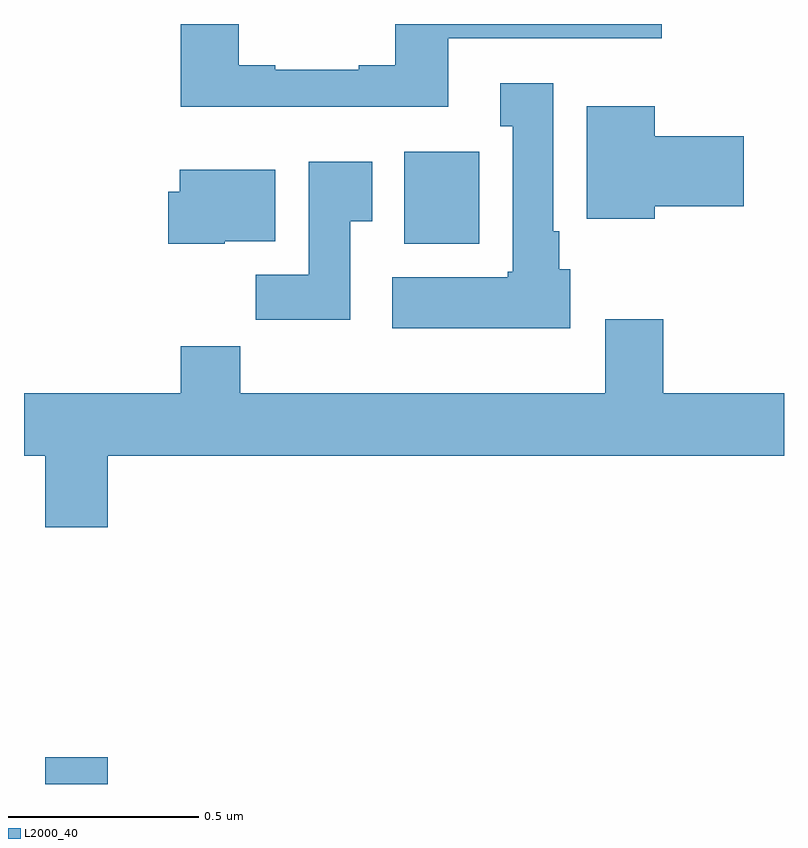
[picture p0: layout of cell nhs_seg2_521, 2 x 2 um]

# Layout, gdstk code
import gdstk
lib = gdstk.Library(unit=1e-6, precision=1e-09)
def R(c, l, rs):  # rectangles x0, y0, x1, y1
    for r in rs: c.add(gdstk.rectangle(r[:2], r[2:], *l))
def P(c, l, *ps):  # polygons
    for p in ps: c.add(gdstk.Polygon(p, *l))
L2000_40 = (2000, 40)

nhs_seg2_521 = lib.new_cell('nhs_seg2_521')
R(nhs_seg2_521, L2000_40, [(117.056,618.8,117.22,618.871), (118.001,620.222,118.198,620.464)])
P(nhs_seg2_521, L2000_40, [(118.117,620.763),(118.678,620.763),(118.678,620.8),(117.977,620.8),(117.977,620.692),(117.881,620.692),(117.881,620.679),(117.661,620.679),(117.661,620.692),(117.565,620.692),(117.565,620.8),(117.413,620.8),(117.413,620.582),(118.117,620.582)],
  [(118.438,620.154),(118.408,620.154),(118.408,620.254),(118.393,620.254),(118.393,620.644),(118.253,620.644),(118.253,620.531),(118.286,620.531),(118.286,620.148),(118.273,620.148),(118.273,620.134),(117.969,620.134),(117.969,620),(118.438,620)],
  [(118.66,620.321),(118.894,620.321),(118.894,620.504),(118.66,620.504),(118.66,620.584),(118.481,620.584),(118.481,620.288),(118.66,620.288)],
  [(117.859,620.281),(117.916,620.281),(117.916,620.437),(117.749,620.437),(117.749,620.14),(117.61,620.14),(117.61,620.022),(117.859,620.022)],
  [(117.528,620.228),(117.661,620.228),(117.661,620.416),(117.41,620.416),(117.41,620.358),(117.38,620.358),(117.38,620.222),(117.528,620.222)],
  [(117.22,619.664),(119,619.664),(119,619.828),(118.682,619.828),(118.682,620.023),(118.529,620.023),(118.529,619.828),(117.569,619.828),(117.569,619.952),(117.413,619.952),(117.413,619.828),(117,619.828),(117,619.664),(117.056,619.664),(117.056,619.476),(117.22,619.476)])

lib.write_gds('nhs_seg2_521.gds')
